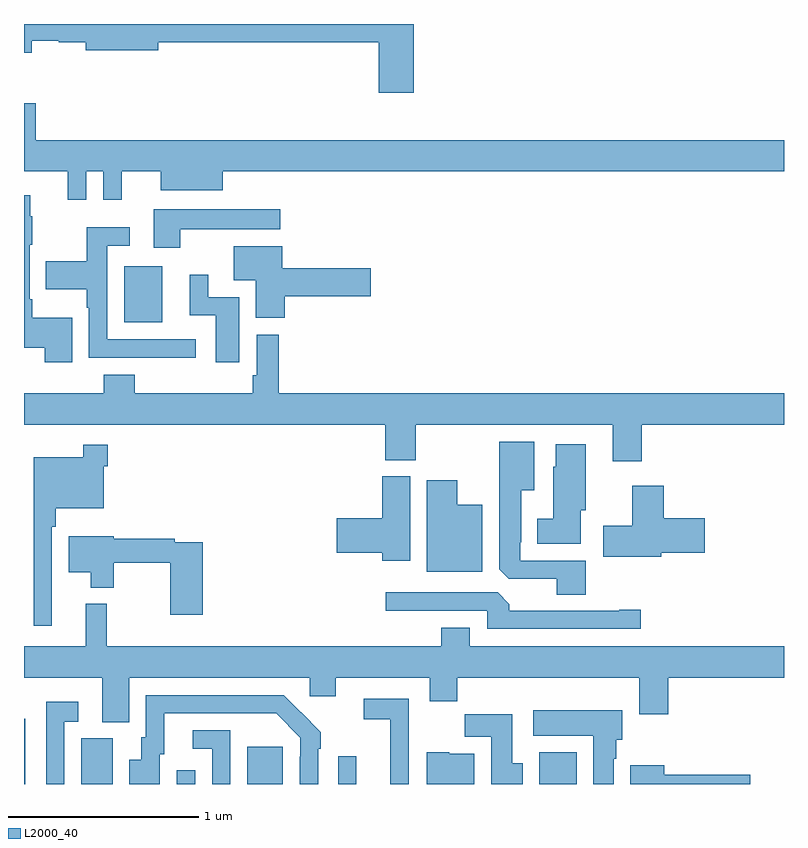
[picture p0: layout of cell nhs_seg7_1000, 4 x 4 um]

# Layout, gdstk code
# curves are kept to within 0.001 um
import gdstk
lib = gdstk.Library(unit=1e-6, precision=1e-09)
def R(c, l, rs):  # rectangles x0, y0, x1, y1
    for r in rs: c.add(gdstk.rectangle(r[:2], r[2:], *l))
def P(c, l, *ps):  # polygons
    for p in ps: c.add(gdstk.Polygon(p, *l))
L2000_40 = (2000, 40)

nhs_seg7_1000 = lib.new_cell('nhs_seg7_1000')
R(nhs_seg7_1000, L2000_40, [(183,1056,183.007,1056.344), (183.302,1056,183.466,1056.24), (183.804,1056,183.9,1056.073), (184.175,1056,184.363,1056.196), (184.653,1056,184.749,1056.145), (185.711,1056,185.908,1056.166), (183.527,1058.429,183.727,1058.725)])
P(nhs_seg7_1000, L2000_40, [(185.051,1060),(183,1060),(183,1059.848),(183.04,1059.848),(183.04,1059.912),(183.183,1059.912),(183.183,1059.904),(183.326,1059.904),(183.326,1059.862),(183.706,1059.862),(183.706,1059.904),(184.868,1059.904),(184.868,1059.639),(185.051,1059.639)],
  [(183.062,1059.583),(183,1059.583),(183,1059.224),(183.23,1059.224),(183.23,1059.075),(183.327,1059.075),(183.327,1059.224),(183.417,1059.224),(183.417,1059.075),(183.515,1059.075),(183.515,1059.224),(183.719,1059.224),(183.719,1059.125),(184.045,1059.125),(184.045,1059.224),(187,1059.224),(187,1059.388),(183.062,1059.388)],
  [(183.253,1058.455),(183.043,1058.455),(183.043,1058.551),(183.03,1058.551),(183.03,1058.839),(183.043,1058.839),(183.043,1058.987),(183.032,1058.987),(183.032,1059.1),(183,1059.1),(183,1058.297),(183.11,1058.297),(183.11,1058.22),(183.253,1058.22)],
  [(183.823,1058.921),(184.348,1058.921),(184.348,1059.025),(183.683,1059.025),(183.683,1058.823),(183.823,1058.823)],
  [(183.904,1058.34),(183.438,1058.34),(183.438,1058.832),(183.556,1058.832),(183.556,1058.929),(183.33,1058.929),(183.33,1058.751),(183.115,1058.751),(183.115,1058.603),(183.33,1058.603),(183.33,1058.507),(183.342,1058.507),(183.342,1058.244),(183.667,1058.244),(183.667,1058.243),(183.904,1058.243)],
  [(184.373,1058.567),(184.825,1058.567),(184.825,1058.714),(184.36,1058.714),(184.36,1058.83),(184.103,1058.83),(184.103,1058.651),(184.22,1058.651),(184.22,1058.454),(184.373,1058.454)],
  [(184.132,1058.562),(183.97,1058.562),(183.97,1058.68),(183.872,1058.68),(183.872,1058.466),(184.01,1058.466),(184.01,1058.22),(184.132,1058.22)],
  [(183.419,1058.155),(183.419,1058.056),(183,1058.056),(183,1057.892),(184.901,1057.892),(184.901,1057.705),(185.061,1057.705),(185.061,1057.892),(186.098,1057.892),(186.098,1057.698),(186.251,1057.698),(186.251,1057.892),(187,1057.892),(187,1058.056),(184.34,1058.056),(184.34,1058.365),(184.224,1058.365),(184.224,1058.152),(184.204,1058.152),(184.204,1058.056),(183.584,1058.056),(183.584,1058.155)],
  [(185.957,1057.176),(185.613,1057.176),(185.613,1057.273),(185.617,1057.273),(185.617,1057.547),(185.686,1057.547),(185.686,1057.801),(185.501,1057.801),(185.501,1057.129),(185.55,1057.08),(185.804,1057.08),(185.804,1056.997),(185.957,1056.997)],
  [(185.929,1057.44),(185.956,1057.44),(185.956,1057.789),(185.798,1057.789),(185.798,1057.671),(185.786,1057.671),(185.786,1057.396),(185.702,1057.396),(185.702,1057.265),(185.929,1057.265)],
  [(183.147,1057.355),(183.167,1057.355),(183.167,1057.451),(183.42,1057.451),(183.42,1057.673),(183.44,1057.673),(183.44,1057.786),(183.312,1057.786),(183.312,1057.72),(183.05,1057.72),(183.05,1056.834),(183.147,1056.834)],
  [(185.032,1057.62),(184.886,1057.62),(184.886,1057.4),(184.647,1057.4),(184.647,1057.217),(184.886,1057.217),(184.886,1057.176),(185.032,1057.176)],
  [(185.413,1057.471),(185.281,1057.471),(185.281,1057.6),(185.12,1057.6),(185.12,1057.118),(185.413,1057.118)],
  [(186.355,1057.217),(186.583,1057.217),(186.583,1057.4),(186.368,1057.4),(186.368,1057.57),(186.2,1057.57),(186.2,1057.359),(186.048,1057.359),(186.048,1057.196),(186.355,1057.196)],
  [(183.941,1057.272),(183.794,1057.272),(183.794,1057.292),(183.472,1057.292),(183.472,1057.303),(183.236,1057.303),(183.236,1057.115),(183.35,1057.115),(183.35,1057.034),(183.472,1057.034),(183.472,1057.164),(183.77,1057.164),(183.77,1056.891),(183.941,1056.891)],
  [(186.247,1056.917),(186.134,1056.917),(186.134,1056.912),(185.555,1056.912),(185.555,1056.946),(185.493,1057.008),(184.905,1057.008),(184.905,1056.912),(185.439,1056.912),(185.439,1056.816),(186.247,1056.816)],
  [(185.347,1056.823),(185.195,1056.823),(185.195,1056.724),(183.436,1056.724),(183.436,1056.949),(183.326,1056.949),(183.326,1056.724),(183,1056.724),(183,1056.56),(183.413,1056.56),(183.413,1056.325),(183.553,1056.325),(183.553,1056.56),(184.503,1056.56),(184.503,1056.462),(184.642,1056.462),(184.642,1056.56),(185.135,1056.56),(185.135,1056.436),(185.279,1056.436),(185.279,1056.56),(186.239,1056.56),(186.239,1056.366),(186.392,1056.366),(186.392,1056.56),(187,1056.56),(187,1056.724),(185.347,1056.724)],
  [(183.715,1056.156),(183.739,1056.156),(183.739,1056.372),(184.327,1056.372),(184.455,1056.243),(184.455,1056.143),(184.452,1056.143),(184.452,1056),(184.548,1056),(184.548,1056.185),(184.563,1056.185),(184.563,1056.273),(184.366,1056.468),(183.642,1056.468),(183.642,1056.246),(183.617,1056.246),(183.617,1056.127),(183.554,1056.127),(183.554,1056),(183.715,1056)],
  [(185.025,1056.45),(184.788,1056.45),(184.788,1056.342),(184.928,1056.342),(184.928,1056),(185.025,1056)],
  [(183.213,1056.327),(183.286,1056.327),(183.286,1056.433),(183.117,1056.433),(183.117,1056),(183.213,1056)],
  [(186.103,1056.134),(186.118,1056.134),(186.118,1056.234),(186.148,1056.234),(186.148,1056.388),(185.679,1056.388),(185.679,1056.254),(185.996,1056.254),(185.996,1056),(186.103,1056)],
  [(185.626,1056.108),(185.569,1056.108),(185.569,1056.367),(185.32,1056.367),(185.32,1056.248),(185.459,1056.248),(185.459,1056),(185.626,1056)],
  [(184.086,1056.282),(183.888,1056.282),(183.888,1056.186),(183.99,1056.186),(183.99,1056),(184.086,1056)],
  [(185.371,1056.16),(185.238,1056.16),(185.238,1056.166),(185.12,1056.166),(185.12,1056),(185.371,1056)],
  [(186.823,1056.05),(186.37,1056.05),(186.37,1056.1),(186.191,1056.1),(186.191,1056),(186.823,1056)])

lib.write_gds('nhs_seg7_1000.gds')
